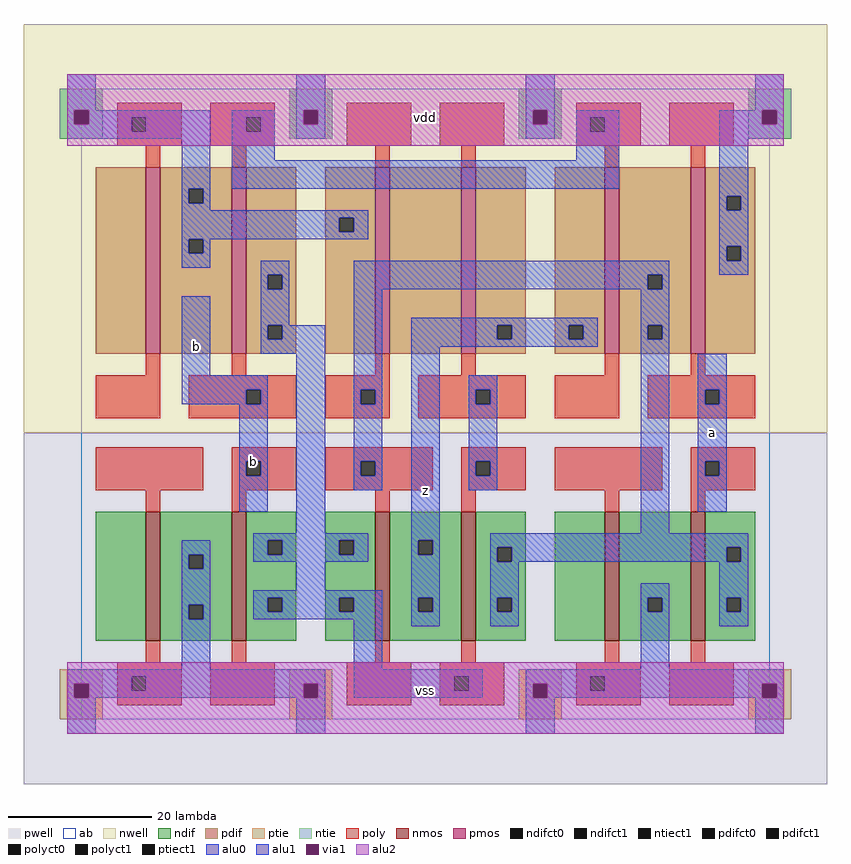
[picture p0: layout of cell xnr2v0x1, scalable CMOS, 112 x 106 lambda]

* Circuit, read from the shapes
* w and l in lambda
.subckt xnr2v0x1 a b vdd vss z
M1 vss vss n1 vss nfet w=18 l=2
M2 n2 b vss vss nfet w=18 l=2
M3 z n3 n2 vss nfet w=18 l=2
M4 n3 n2 z vss nfet w=18 l=2
M5 vss vss n4 vss nfet w=18 l=2
M6 n3 a vss vss nfet w=18 l=2
M7 vdd vdd n5 vdd pfet w=26 l=2
M8 n2 b vdd vdd pfet w=26 l=2
M9 n6 n3 vdd vdd pfet w=26 l=2
M10 z n2 n6 vdd pfet w=26 l=2
M11 n3 b z vdd pfet w=26 l=2
M12 vdd a n3 vdd pfet w=26 l=2
.ends

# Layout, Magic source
magic
tech scmos
<< ab >>
rect 0 0 96 88
<< nwell >>
rect -8 40 104 97
<< pwell >>
rect -8 -9 104 40
<< poly >>
rect 5 84 14 86
rect 5 82 7 84
rect 9 82 14 84
rect 5 80 14 82
rect 18 84 27 86
rect 18 82 23 84
rect 25 82 27 84
rect 18 80 27 82
rect 37 80 46 86
rect 50 80 59 86
rect 69 84 78 86
rect 69 82 71 84
rect 73 82 78 84
rect 69 80 78 82
rect 82 80 91 86
rect 9 77 11 80
rect 21 77 23 80
rect 41 77 43 80
rect 53 77 55 80
rect 73 77 75 80
rect 85 77 87 80
rect 9 48 11 51
rect 21 48 23 51
rect 41 48 43 51
rect 53 48 55 51
rect 73 48 75 51
rect 85 48 87 51
rect 2 42 11 48
rect 15 46 30 48
rect 15 44 23 46
rect 25 44 30 46
rect 15 42 30 44
rect 34 46 43 48
rect 34 44 39 46
rect 41 44 43 46
rect 34 42 43 44
rect 47 46 62 48
rect 47 44 55 46
rect 57 44 62 46
rect 47 42 62 44
rect 66 42 75 48
rect 79 46 94 48
rect 79 44 87 46
rect 89 44 94 46
rect 79 42 94 44
rect 2 32 17 38
rect 21 36 30 38
rect 21 34 23 36
rect 25 34 30 36
rect 21 32 30 34
rect 34 36 49 38
rect 34 34 39 36
rect 41 34 49 36
rect 34 32 49 34
rect 53 36 62 38
rect 53 34 55 36
rect 57 34 62 36
rect 53 32 62 34
rect 66 32 81 38
rect 85 36 94 38
rect 85 34 87 36
rect 89 34 94 36
rect 85 32 94 34
rect 9 29 11 32
rect 21 29 23 32
rect 41 29 43 32
rect 53 29 55 32
rect 73 29 75 32
rect 85 29 87 32
rect 9 8 11 11
rect 21 8 23 11
rect 41 8 43 11
rect 53 8 55 11
rect 73 8 75 11
rect 85 8 87 11
rect 5 6 14 8
rect 5 4 7 6
rect 9 4 14 6
rect 5 2 14 4
rect 18 2 27 8
rect 37 2 46 8
rect 50 6 59 8
rect 50 4 52 6
rect 54 4 59 6
rect 50 2 59 4
rect 69 6 78 8
rect 69 4 71 6
rect 73 4 78 6
rect 69 2 78 4
rect 82 2 91 8
<< ndif >>
rect 2 11 9 29
rect 11 23 21 29
rect 11 21 15 23
rect 17 21 21 23
rect 11 16 21 21
rect 11 14 15 16
rect 17 14 21 16
rect 11 11 21 14
rect 23 25 30 29
rect 23 23 26 25
rect 28 23 30 25
rect 23 17 30 23
rect 23 15 26 17
rect 28 15 30 17
rect 23 11 30 15
rect 34 25 41 29
rect 34 23 36 25
rect 38 23 41 25
rect 34 17 41 23
rect 34 15 36 17
rect 38 15 41 17
rect 34 11 41 15
rect 43 25 53 29
rect 43 23 47 25
rect 49 23 53 25
rect 43 17 53 23
rect 43 15 47 17
rect 49 15 53 17
rect 43 11 53 15
rect 55 24 62 29
rect 55 22 58 24
rect 60 22 62 24
rect 55 17 62 22
rect 55 15 58 17
rect 60 15 62 17
rect 55 11 62 15
rect 66 11 73 29
rect 75 17 85 29
rect 75 15 79 17
rect 81 15 85 17
rect 75 11 85 15
rect 87 24 94 29
rect 87 22 90 24
rect 92 22 94 24
rect 87 17 94 22
rect 87 15 90 17
rect 92 15 94 17
rect 87 11 94 15
<< pdif >>
rect 2 51 9 77
rect 11 74 21 77
rect 11 72 15 74
rect 17 72 21 74
rect 11 67 21 72
rect 11 65 15 67
rect 17 65 21 67
rect 11 51 21 65
rect 23 62 30 77
rect 23 60 26 62
rect 28 60 30 62
rect 23 55 30 60
rect 23 53 26 55
rect 28 53 30 55
rect 23 51 30 53
rect 34 70 41 77
rect 34 68 36 70
rect 38 68 41 70
rect 34 51 41 68
rect 43 51 53 77
rect 55 55 62 77
rect 55 53 58 55
rect 60 53 62 55
rect 55 51 62 53
rect 66 55 73 77
rect 66 53 68 55
rect 70 53 73 55
rect 66 51 73 53
rect 75 62 85 77
rect 75 60 79 62
rect 81 60 85 62
rect 75 55 85 60
rect 75 53 79 55
rect 81 53 85 55
rect 75 51 85 53
rect 87 73 94 77
rect 87 71 90 73
rect 92 71 94 73
rect 87 66 94 71
rect 87 64 90 66
rect 92 64 94 66
rect 87 51 94 64
<< alu1 >>
rect -2 85 2 90
rect 30 85 34 90
rect -2 83 -1 85
rect 1 84 18 85
rect 1 83 7 84
rect -2 82 7 83
rect 9 82 18 84
rect -2 81 18 82
rect 14 74 18 81
rect 30 83 31 85
rect 33 83 34 85
rect 30 81 34 83
rect 62 85 66 90
rect 94 85 98 90
rect 62 83 63 85
rect 65 83 66 85
rect 62 81 66 83
rect 89 83 95 85
rect 97 83 98 85
rect 89 81 98 83
rect 14 72 15 74
rect 17 72 18 74
rect 14 71 18 72
rect 89 73 93 81
rect 89 71 90 73
rect 92 71 93 73
rect 14 70 40 71
rect 14 68 36 70
rect 38 68 40 70
rect 14 67 40 68
rect 14 65 15 67
rect 17 65 18 67
rect 14 63 18 65
rect 89 66 93 71
rect 89 64 90 66
rect 92 64 93 66
rect 14 48 18 59
rect 89 62 93 64
rect 14 46 26 48
rect 14 44 23 46
rect 25 44 26 46
rect 22 36 26 44
rect 22 34 23 36
rect 25 34 26 36
rect 22 29 26 34
rect 46 55 72 56
rect 46 53 58 55
rect 60 53 68 55
rect 70 53 72 55
rect 46 52 72 53
rect 14 23 18 25
rect 14 21 15 23
rect 17 21 18 23
rect 46 25 50 52
rect 86 46 90 51
rect 86 44 87 46
rect 89 44 90 46
rect 86 36 90 44
rect 86 34 87 36
rect 89 34 90 36
rect 86 29 90 34
rect 46 23 47 25
rect 49 23 50 25
rect 14 16 18 21
rect 14 14 15 16
rect 17 14 18 16
rect 14 7 18 14
rect 46 17 50 23
rect 46 15 47 17
rect 49 15 50 17
rect 46 13 50 15
rect 78 17 82 19
rect 78 15 79 17
rect 81 15 82 17
rect 78 7 82 15
rect -2 6 34 7
rect -2 5 7 6
rect -2 3 -1 5
rect 1 4 7 5
rect 9 5 34 6
rect 9 4 31 5
rect 1 3 31 4
rect 33 3 34 5
rect 62 6 98 7
rect 62 5 71 6
rect 62 3 63 5
rect 65 4 71 5
rect 73 5 98 6
rect 73 4 95 5
rect 65 3 95 4
rect 97 3 98 5
rect -2 -2 2 3
rect 30 -2 34 3
rect 62 -2 66 3
rect 94 -2 98 3
<< alu2 >>
rect -2 85 98 90
rect -2 83 -1 85
rect 1 83 31 85
rect 33 83 63 85
rect 65 83 95 85
rect 97 83 98 85
rect -2 80 98 83
rect -2 5 98 8
rect -2 3 -1 5
rect 1 3 31 5
rect 33 3 63 5
rect 65 3 95 5
rect 97 3 98 5
rect -2 -2 98 3
<< ptie >>
rect -3 5 3 7
rect -3 3 -1 5
rect 1 3 3 5
rect -3 0 3 3
rect 29 5 35 7
rect 29 3 31 5
rect 33 3 35 5
rect 29 0 35 3
rect 61 5 67 7
rect 61 3 63 5
rect 65 3 67 5
rect 61 0 67 3
rect 93 5 99 7
rect 93 3 95 5
rect 97 3 99 5
rect 93 0 99 3
<< ntie >>
rect -3 85 3 88
rect -3 83 -1 85
rect 1 83 3 85
rect -3 81 3 83
rect 29 85 35 88
rect 29 83 31 85
rect 33 83 35 85
rect 29 81 35 83
rect 61 85 67 88
rect 61 83 63 85
rect 65 83 67 85
rect 61 81 67 83
rect 93 85 99 88
rect 93 83 95 85
rect 97 83 99 85
rect 93 81 99 83
<< nmos >>
rect 9 11 11 29
rect 21 11 23 29
rect 41 11 43 29
rect 53 11 55 29
rect 73 11 75 29
rect 85 11 87 29
<< pmos >>
rect 9 51 11 77
rect 21 51 23 77
rect 41 51 43 77
rect 53 51 55 77
rect 73 51 75 77
rect 85 51 87 77
<< polyct0 >>
rect 23 82 25 84
rect 71 82 73 84
rect 39 44 41 46
rect 55 44 57 46
rect 39 34 41 36
rect 55 34 57 36
rect 52 4 54 6
<< polyct1 >>
rect 7 82 9 84
rect 23 44 25 46
rect 87 44 89 46
rect 23 34 25 36
rect 87 34 89 36
rect 7 4 9 6
rect 71 4 73 6
<< ndifct0 >>
rect 26 23 28 25
rect 26 15 28 17
rect 36 23 38 25
rect 36 15 38 17
rect 58 22 60 24
rect 58 15 60 17
rect 90 22 92 24
rect 90 15 92 17
<< ndifct1 >>
rect 15 21 17 23
rect 15 14 17 16
rect 47 23 49 25
rect 47 15 49 17
rect 79 15 81 17
<< ntiect1 >>
rect -1 83 1 85
rect 31 83 33 85
rect 63 83 65 85
rect 95 83 97 85
<< ptiect1 >>
rect -1 3 1 5
rect 31 3 33 5
rect 63 3 65 5
rect 95 3 97 5
<< pdifct0 >>
rect 26 60 28 62
rect 26 53 28 55
rect 79 60 81 62
rect 79 53 81 55
<< pdifct1 >>
rect 15 72 17 74
rect 15 65 17 67
rect 36 68 38 70
rect 58 53 60 55
rect 68 53 70 55
rect 90 71 92 73
rect 90 64 92 66
<< alu0 >>
rect 21 84 27 85
rect 21 82 23 84
rect 25 82 27 84
rect 21 78 27 82
rect 69 84 75 85
rect 69 82 71 84
rect 73 82 75 84
rect 69 78 75 82
rect 21 74 75 78
rect 25 62 29 64
rect 25 60 26 62
rect 28 60 29 62
rect 25 55 29 60
rect 38 62 82 64
rect 38 60 79 62
rect 81 60 82 62
rect 25 53 26 55
rect 28 53 34 55
rect 25 51 34 53
rect 30 26 34 51
rect 38 46 42 60
rect 38 44 39 46
rect 41 44 42 46
rect 38 36 42 44
rect 38 34 39 36
rect 41 34 42 36
rect 38 32 42 34
rect 78 55 82 60
rect 78 53 79 55
rect 81 53 82 55
rect 24 25 40 26
rect 24 23 26 25
rect 28 23 36 25
rect 38 23 40 25
rect 24 22 40 23
rect 54 46 58 48
rect 54 44 55 46
rect 57 44 58 46
rect 54 36 58 44
rect 54 34 55 36
rect 57 34 58 36
rect 54 32 58 34
rect 78 26 82 53
rect 30 18 34 22
rect 24 17 42 18
rect 24 15 26 17
rect 28 15 36 17
rect 38 15 42 17
rect 24 14 42 15
rect 38 7 42 14
rect 57 24 93 26
rect 57 22 58 24
rect 60 22 90 24
rect 92 22 93 24
rect 57 17 61 22
rect 57 15 58 17
rect 60 15 61 17
rect 57 13 61 15
rect 89 17 93 22
rect 89 15 90 17
rect 92 15 93 17
rect 89 13 93 15
rect 38 6 56 7
rect 38 4 52 6
rect 54 4 56 6
rect 38 3 56 4
<< via1 >>
rect -1 83 1 85
rect 31 83 33 85
rect 63 83 65 85
rect 95 83 97 85
rect -1 3 1 5
rect 31 3 33 5
rect 63 3 65 5
rect 95 3 97 5
<< labels >>
rlabel alu1 16 52 16 52 6 b
rlabel alu1 24 36 24 36 6 b
rlabel alu1 48 32 48 32 6 z
rlabel alu1 88 40 88 40 6 a
rlabel alu2 48 4 48 4 6 vss
rlabel alu2 48 84 48 84 6 vdd
<< end >>
